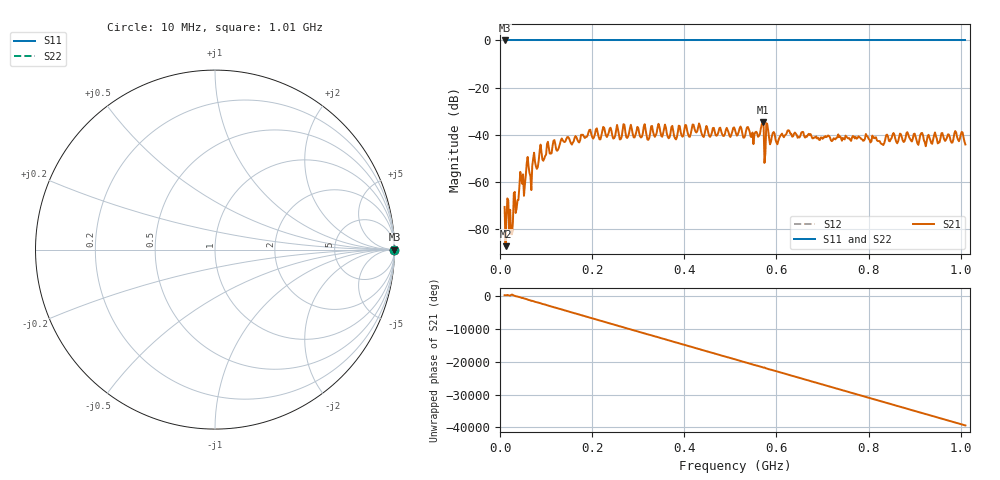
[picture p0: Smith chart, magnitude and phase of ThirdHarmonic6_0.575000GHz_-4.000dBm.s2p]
! 8/15/2025 6:30:19 PM
! C:\ANRITSUVNA\TEMP\TEMP.S2P
! CHANNEL.1
! TR.MEASUREMENT
! RAW.DATA
! RF.CORRECTION.OFF
! AVERAGING.OFF
! IF.BANDWIDTH: 5KHZ
! SWEEPTYPE:  FREQ.SWEEP(Linear)
! Reference Plane Port Info
! PORT:  PORT1  PORT2
! DISTANCE:  0  m  0  m
! TIME:  0  s  0  s
! PHASE.OFFSET:  0  deg.  0  deg.
! LOSS:  0  dB  0  dB
! REF.LOSS:  0  dB  0  dB
! REF.FREQ:  0  Hz  0  Hz
! Power Info
! POWER:  -20  dBm  -20  dBm
! EFF.POWER:  -20  dBm  -20  dBm
! SOURCE.ATTEN:  0  dB  0  dB
! TEST.ATTEN:  0  dB  0  dB
# GHZ S RI R 50.0
! FREQ.GHZ  S11RE  S11IM  S21RE  S21IM  S12RE  S12IM  S22RE  S22IM
!; PortSelection: Port_12
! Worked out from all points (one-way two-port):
!   501 points, 10 MHz to 1.01 GHz, reference 50 ohm
!   highest |S21| = -34.54 dB at 570 MHz (marker M1); lowest = -87.2 dB at 12 MHz (marker M2)
!   lowest |S11| = 0.0 dB at 10 MHz (marker M3)
!   |S11| at or under -10 dB: nowhere
!   |S22| runs from 0.0 to 0.0 dB; largest |S21 - S12| = 1
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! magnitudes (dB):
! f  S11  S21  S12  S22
! 10 MHz  0.0  -70.6  0.0  0.0
! 12 MHz  0.0  -87.2  0.0  0.0
! 24 MHz  0.0  -82.1  0.0  0.0
! 46 MHz  0.0  -58.0  0.0  0.0
! 52 MHz  0.0  -65.9  0.0  0.0
! 60 MHz  0.0  -49.4  0.0  0.0
! 66 MHz  0.0  -57.4  0.0  0.0
! 88 MHz  0.0  -44.2  0.0  0.0
! 178 MHz  0.0  -40.0  0.0  0.0
! 314 MHz  0.0  -35.5  0.0  0.0
! 322 MHz  0.0  -42.1  0.0  0.0
! 344 MHz  0.0  -35.3  0.0  0.0
! 382 MHz  0.0  -42.0  0.0  0.0
! 420 MHz  0.0  -35.8  0.0  0.0
! 510 MHz  0.0  -37.9  0.0  0.0
! 570 MHz  0.0  -34.5  0.0  0.0
! 602 MHz  0.0  -44.0  0.0  0.0
! 626 MHz  0.0  -38.1  0.0  0.0
! 678 MHz  0.0  -41.5  0.0  0.0
! 844 MHz  0.0  -42.6  0.0  0.0
! 988 MHz  0.0  -38.4  0.0  0.0
! 1.01 GHz  0.0  -44.1  0.0  0.0
